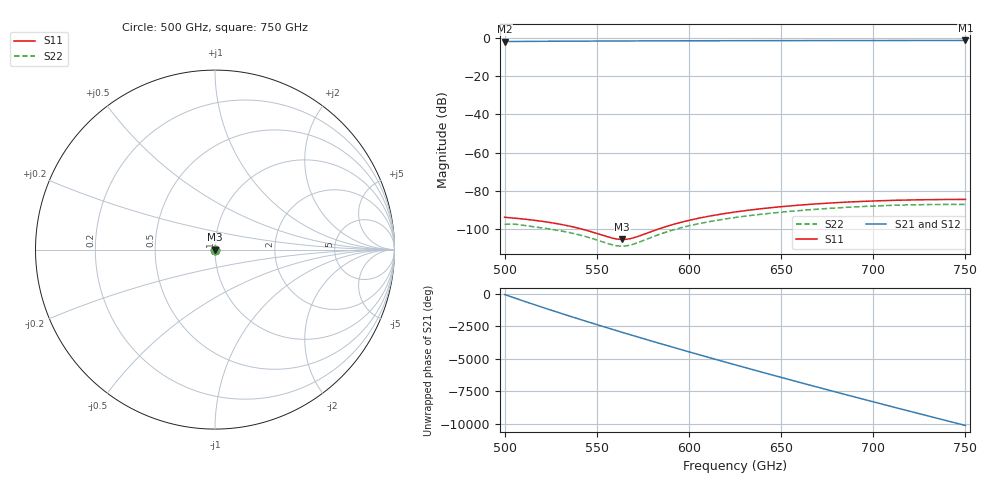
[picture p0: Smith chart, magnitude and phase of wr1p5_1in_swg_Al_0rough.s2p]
! Touchstone file from project tmp
! Exported from HFSS 15.0.0
!Data is not renormalized
# GHZ S MA
! Modal data exported
! Port[1] = p1:1
! Port[2] = p2:1
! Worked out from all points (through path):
!   401 points, 500 GHz to 750 GHz, reference per port
!   highest |S21| = -1.29 dB at 750 GHz (marker M1); lowest = -1.8 dB at 500 GHz (marker M2)
!   lowest |S11| = -105.4 dB at 563.8 GHz (marker M3), VSWR 1.00
!   |S11| at or under -10 dB: start of sweep to end of sweep
!   |S22| runs from -108.9 to -87.1 dB; largest |S21 - S12| = 2.5e-12
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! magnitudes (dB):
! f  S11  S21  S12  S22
! 500 GHz  -93.8  -1.8  -1.8  -97.5
! 501.2 GHz  -93.9  -1.8  -1.8  -97.4
! 506.2 GHz  -94.3  -1.8  -1.8  -97.5
! 511.2 GHz  -94.8  -1.8  -1.8  -98.1
! 520 GHz  -95.9  -1.7  -1.7  -99.3
! 525 GHz  -96.6  -1.7  -1.7  -100.0
! 530.6 GHz  -97.5  -1.7  -1.7  -100.9
! 541.9 GHz  -100.0  -1.6  -1.6  -103.3
! 552.5 GHz  -103.0  -1.6  -1.6  -106.4
! 563.8 GHz  -105.4  -1.5  -1.5  -108.9
! 573.8 GHz  -103.3  -1.5  -1.5  -106.5
! 583.8 GHz  -99.9  -1.5  -1.5  -102.8
! 593.8 GHz  -96.9  -1.5  -1.5  -99.8
! 603.8 GHz  -94.6  -1.4  -1.4  -97.5
! 614.4 GHz  -92.6  -1.4  -1.4  -95.5
! 625 GHz  -91.0  -1.4  -1.4  -93.9
! 644.4 GHz  -88.8  -1.4  -1.4  -91.7
! 666.9 GHz  -86.9  -1.4  -1.4  -89.8
! 688.1 GHz  -85.7  -1.3  -1.3  -88.4
! 708.8 GHz  -85.0  -1.3  -1.3  -87.6
! 731.2 GHz  -84.6  -1.3  -1.3  -87.1
! 750 GHz  -84.4  -1.3  -1.3  -87.1
